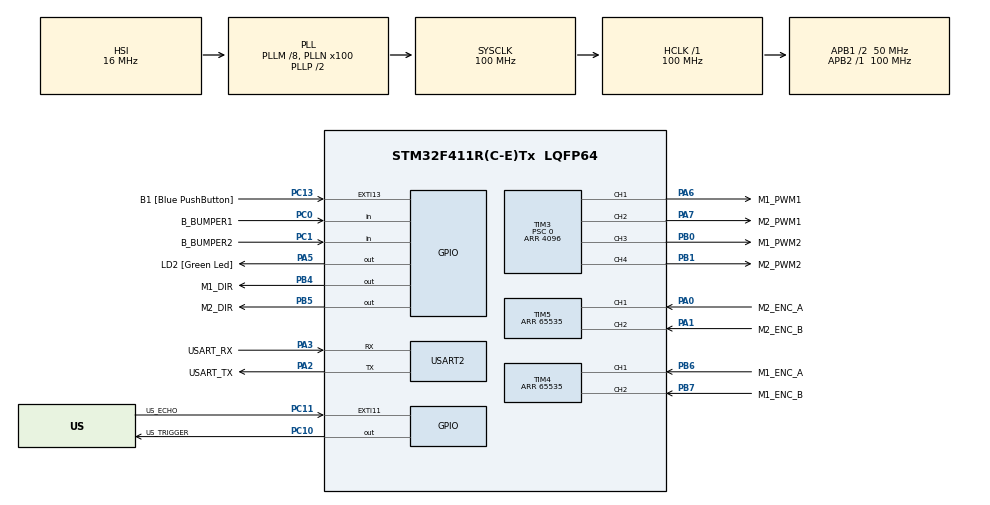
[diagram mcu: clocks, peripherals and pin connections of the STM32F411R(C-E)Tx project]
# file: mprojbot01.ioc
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Mcu.Family=STM32F4
Mcu.Name=STM32F411R(C-E)Tx
Mcu.Package=LQFP64
NVIC.EXTI15_10_IRQn=true\:0\:0\:false\:true\:true\:1\:true
NVIC.PriorityGroup=NVIC_PRIORITYGROUP_4
NVIC.USART2_IRQn=true\:0\:0\:false\:false\:true\:true
PA0-WKUP.GPIO_Label=M2_ENC_A
PA0-WKUP.Signal=S_TIM5_CH1
PA1.GPIO_Label=M2_ENC_B
PA1.Signal=S_TIM5_CH2
PA13.GPIO_Label=TMS
PA13.Signal=SYS_JTMS-SWDIO
PA14.GPIO_Label=TCK
PA14.Signal=SYS_JTCK-SWCLK
PA2.GPIO_Label=USART_TX
PA2.Mode=Asynchronous
PA2.Signal=USART2_TX
PA3.GPIO_Label=USART_RX
PA3.Mode=Asynchronous
PA3.Signal=USART2_RX
PA5.GPIO_Label=LD2 [Green Led]
PA5.Signal=GPIO_Output
PA6.GPIO_Label=M1_PWM1
PA6.Signal=S_TIM3_CH1
PA7.GPIO_Label=M2_PWM1
PA7.Signal=S_TIM3_CH2
PB0.GPIO_Label=M1_PWM2
PB0.Signal=S_TIM3_CH3
PB1.GPIO_Label=M2_PWM2
PB1.Signal=S_TIM3_CH4
PB3.GPIO_Label=SWO
PB3.Signal=SYS_JTDO-SWO
PB4.GPIO_Label=M1_DIR
PB4.Signal=GPIO_Output
PB5.GPIO_Label=M2_DIR
PB5.Signal=GPIO_Output
PB6.GPIO_Label=M1_ENC_A
PB6.Signal=S_TIM4_CH1
PB7.GPIO_Label=M1_ENC_B
PB7.Signal=S_TIM4_CH2
PC0.GPIO_Label=B_BUMPER1
PC0.GPIO_PuPd=GPIO_PULLUP
PC0.Signal=GPIO_Input
PC1.GPIO_Label=B_BUMPER2
PC1.GPIO_PuPd=GPIO_PULLUP
PC1.Signal=GPIO_Input
PC10.GPIO_Label=US_TRIGGER
PC10.Signal=GPIO_Output
PC11.GPIO_Label=US_ECHO
PC11.GPIO_ModeDefaultEXTI=GPIO_MODE_IT_RISING_FALLING
PC11.Signal=GPXTI11
PC13-ANTI_TAMP.GPIO_Label=B1 [Blue PushButton]
PC13-ANTI_TAMP.GPIO_ModeDefaultEXTI=GPIO_MODE_IT_FALLING
PC13-ANTI_TAMP.Signal=GPXTI13
PC14-OSC32_IN.Signal=RCC_OSC32_IN
PC15-OSC32_OUT.Signal=RCC_OSC32_OUT
PH0\ -\ OSC_IN.Signal=RCC_OSC_IN
PH1\ -\ OSC_OUT.Signal=RCC_OSC_OUT
ProjectManager.HeapSize=0x200
ProjectManager.StackSize=0x400
ProjectManager.TargetToolchain=TrueSTUDIO
RCC.48MHZClocksFreq_Value=50000000
RCC.AHBFreq_Value=100000000
RCC.APB1CLKDivider=RCC_HCLK_DIV2
RCC.APB1Freq_Value=50000000
RCC.APB1TimFreq_Value=100000000
RCC.APB2Freq_Value=100000000
RCC.APB2TimFreq_Value=100000000
RCC.CortexFreq_Value=100000000
RCC.FLatency-AdvancedSettings=FLASH_LATENCY_3
RCC.HCLKFreq_Value=100000000
RCC.HSE_VALUE=8000000
RCC.HSI_VALUE=16000000
RCC.LSE_VALUE=32768
RCC.PLLM=8
RCC.PLLN=100
RCC.SYSCLKFreq_VALUE=100000000
RCC.SYSCLKSource=RCC_SYSCLKSOURCE_PLLCLK
RCC.VCOOutputFreq_Value=200000000
SH.S_TIM3_CH1.0=TIM3_CH1,PWM Generation1 CH1
SH.S_TIM3_CH2.0=TIM3_CH2,PWM Generation2 CH2
SH.S_TIM3_CH3.0=TIM3_CH3,PWM Generation3 CH3
SH.S_TIM3_CH4.0=TIM3_CH4,PWM Generation4 CH4
SH.S_TIM4_CH1.0=TIM4_CH1,Encoder_Interface
SH.S_TIM4_CH2.0=TIM4_CH2,Encoder_Interface
SH.S_TIM5_CH1.0=TIM5_CH1,Encoder_Interface
SH.S_TIM5_CH2.0=TIM5_CH2,Encoder_Interface
TIM2.Period=0xFFFFFFFF
TIM2.Prescaler=9
TIM3.Channel-PWM\ Generation1\ CH1=TIM_CHANNEL_1
TIM3.Channel-PWM\ Generation2\ CH2=TIM_CHANNEL_2
TIM3.Channel-PWM\ Generation3\ CH3=TIM_CHANNEL_3
TIM3.Channel-PWM\ Generation4\ CH4=TIM_CHANNEL_4
TIM3.ClockDivision=TIM_CLOCKDIVISION_DIV1
TIM3.Period=4096
TIM3.Prescaler=0
TIM4.EncoderMode=TIM_ENCODERMODE_TI12
TIM4.IC1Polarity=TIM_ICPOLARITY_RISING
TIM4.IC2Polarity=TIM_ICPOLARITY_RISING
TIM4.Period=65535
TIM5.EncoderMode=TIM_ENCODERMODE_TI12
TIM5.IC1Polarity=TIM_ICPOLARITY_RISING
TIM5.IC2Polarity=TIM_ICPOLARITY_RISING
TIM5.Period=65535
USART2.VirtualMode=VM_ASYNC
VP_TIM2_VS_ClockSourceINT.Mode=Internal
board=NUCLEO-F411RE

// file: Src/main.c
/**
  ******************************************************************************
  * File Name          : main.c
  * Description        : Main program body
  ******************************************************************************
  ** This notice applies to any and all portions of this file
  * that are not between comment pairs USER CODE BEGIN and
  * USER CODE END. Other portions of this file, whether
  * inserted by the user or by software development tools
  * are owned by their respective copyright owners.
  *
  * COPYRIGHT(c) 2019 STMicroelectronics
  *
  * Redistribution and use in source and binary forms, with or without modification,
  * are permitted provided that the following conditions are met:
  *   1. Redistributions of source code must retain the above copyright notice,
  *      this list of conditions and the following disclaimer.
  *   2. Redistributions in binary form must reproduce the above copyright notice,
  *      this list of conditions and the following disclaimer in the documentation
  *      and/or other materials provided with the distribution.
  *   3. Neither the name of STMicroelectronics nor the names of its contributors
  *      may be used to endorse or promote products derived from this software
  *      without specific prior written permission.
  *
  * THIS SOFTWARE IS PROVIDED BY THE COPYRIGHT HOLDERS AND CONTRIBUTORS "AS IS"
  * AND ANY EXPRESS OR IMPLIED WARRANTIES, INCLUDING, BUT NOT LIMITED TO, THE
  * IMPLIED WARRANTIES OF MERCHANTABILITY AND FITNESS FOR A PARTICULAR PURPOSE ARE
  * DISCLAIMED. IN NO EVENT SHALL THE COPYRIGHT HOLDER OR CONTRIBUTORS BE LIABLE
  * FOR ANY DIRECT, INDIRECT, INCIDENTAL, SPECIAL, EXEMPLARY, OR CONSEQUENTIAL
  * DAMAGES (INCLUDING, BUT NOT LIMITED TO, PROCUREMENT OF SUBSTITUTE GOODS OR
  * SERVICES; LOSS OF USE, DATA, OR PROFITS; OR BUSINESS INTERRUPTION) HOWEVER
  * CAUSED AND ON ANY THEORY OF LIABILITY, WHETHER IN CONTRACT, STRICT LIABILITY,
  * OR TORT (INCLUDING NEGLIGENCE OR OTHERWISE) ARISING IN ANY WAY OUT OF THE USE
  * OF THIS SOFTWARE, EVEN IF ADVISED OF THE POSSIBILITY OF SUCH DAMAGE.
  *
  ******************************************************************************
  */

#include "main.h"
#include "stm32f4xx_hal.h"

/* USER CODE BEGIN Includes */
// !!!!!!!!  DOLEZITE PRE FUNKCNOST printf(): !!!!!!!!!
// !!!!!!!!  DOLEZITE PRE FUNKCNOST printf(): !!!!!!!!!
// !!!!!!!!  DOLEZITE PRE FUNKCNOST printf(): !!!!!!!!!
//	 Project Properties -> C/C++ Build->Settings-> Tool Settings-> C/C++ Linker-> General
//	 	 Runtime Library zmenit na "Newlib standard"
// 		 System calls zmenit na "Don't use syscalls from library"
//	 v src/ je potrebny subor syscalls.c. Ak tam nie je, rucne ho vytvorit a skopirovat obsah z
//	 https://github.com/fboris/STM32Cube_FW_F4/blob/master/Projects/STM32F429I-Discovery/Examples/BSP/TrueSTUDIO/syscalls.c
// !!!!!!!!  DOLEZITE PRE FUNKCNOST printf()  !!!!!!!!!

#include <stdio.h>

#include "uart.h"
#include "MotorControl.h"
#include "ultrasonic.h"
#include "commands.h"

/* USER CODE END Includes */

TIM_HandleTypeDef htim2;
TIM_HandleTypeDef htim3;
TIM_HandleTypeDef htim4;
TIM_HandleTypeDef htim5;

UART_HandleTypeDef huart2;

/* USER CODE BEGIN PV */
/* Private variables ---------------------------------------------------------*/

/* USER CODE END PV */

void SystemClock_Config(void);
static void MX_GPIO_Init(void);
static void MX_TIM5_Init(void);
static void MX_TIM4_Init(void);
static void MX_TIM3_Init(void);
static void MX_USART2_UART_Init(void);
static void MX_TIM2_Init(void);
static void MX_NVIC_Init(void);

void HAL_TIM_MspPostInit(TIM_HandleTypeDef *htim);

/* USER CODE BEGIN PFP */
/* Private function prototypes -----------------------------------------------*/

/* USER CODE END PFP */

int main(void)
{

  /* MCU Configuration----------------------------------------------------------*/

  /* Reset of all peripherals, Initializes the Flash interface and the Systick. */
  HAL_Init();

  /* Configure the system clock */
  SystemClock_Config();

  /* Initialize all configured peripherals */
  MX_GPIO_Init();
  MX_TIM5_Init();
  MX_TIM4_Init();
  MX_TIM3_Init();
  MX_USART2_UART_Init();
  MX_TIM2_Init();

  /* Initialize interrupts */
  MX_NVIC_Init();

  /* USER CODE BEGIN 2 */
  char msg[100];
  uint32_t counter = 0;
  volatile uint32_t c1 = 0;
  volatile uint32_t c2 = 0;
  int N = 5;
  int i = 0;
  float speeds[5] = {2, 5, 10, 15, 8};
  float setpoint = 2.0;
  uint32_t t_signal = HAL_GetTick();
  uint32_t t_sentUpdate = HAL_GetTick();

//  initMotors();
  initEncoders();
  initOdom();
  ultrasonicInit();
  motorCtrlInit();
  uartInit();

//  HAL_NVIC_SetPriority(USART2_IRQn, 0, 0);
//    HAL_NVIC_EnableIRQ(USART2_IRQn);
//  huart2.Instance->CR1 = USART_CR1_RE|USART_CR1_TE|USART_CR1_UE|USART_CR1_RXNEIE;

//  uint8_t motor = MOTOR_L;
//  printf("printf test\n");
//  uartPrintf("uartPrintf test\n");

  /* USER CODE END 2 */

  /* Infinite loop */
  while (1)
  {

  /* USER CODE BEGIN 3 */
//	  HAL_Delay(10);
	  HAL_GPIO_WritePin(LD2_GPIO_Port, LD2_Pin, 1);
	  uint32_t t = HAL_GetTick();

//	  uint16_t n = sprintf(msg, "It works %d!\r\n", counter);
//	  HAL_UART_Transmit(&huart2, (uint8_t*)msg, n, 100);
//	  uartPrintf("It works with custom printf %d!\r\n", counter);
//	  counter++;

	  ultrasonicStartMeasure();
	  float dist = ultrasonicGetDist();
	  int bumpL = HAL_GPIO_ReadPin(B_BUMPER1_GPIO_Port, B_BUMPER1_Pin);
	  int bumpR = HAL_GPIO_ReadPin(B_BUMPER2_GPIO_Port, B_BUMPER2_Pin);
//	  uartPrintf("%.2f\r\n", dist);

//	  if(t-t_signal > 5000){
//		  setpoint = speeds[((i++)%N)];
//		  t_signal = t;
//	  }
//	  motorCtrlSetpoint(-setpoint, setpoint);
//	  enableMotors(false);
//	  enableMotors(true);
//	  motorCtrlSetpoint(0, 0);

	  updateSerialRxCommand();
	  float v_x = 0.0;
	  float omega_z = 0.0;
	  getCmdvelCommand(&v_x, &omega_z);
	  motorCtrlSetpointCmdvel(v_x, omega_z);
//	  float setpointL = 0;
//	  float setpointR = 0;
//	  getCmdvelCommand(&setpointL, &setpointR);
	  /*
	  0.1,0.1
	  0.5,0.5
	   */
//	  motorCtrlSetpoint(setpointL, setpointR);

	  cmdvelWatchdogUpdate();

	  motorCtrlUpdate();

	  t = HAL_GetTick();
	  if(t - t_sentUpdate > 20){
		  // OdomX[float%.4f],OdomY[float%.4f],OdomRot[float%.4f],BumperL[0/1int],BumperR[0/1int],ultrasound[0..100int]\n"
		  uartPrintf("%.4f,%.4f,%.4f,%d,%d,%.2f\r\n", odomX, odomY, odomRot, bumpL, bumpR, dist);
		  t_sentUpdate = t;
	  }

	  HAL_GPIO_WritePin(LD2_GPIO_Port, LD2_Pin, 0);
  }
  /* USER CODE END 3 */

}

/** System Clock Configuration
*/
void SystemClock_Config(void)
{

  RCC_OscInitTypeDef RCC_OscInitStruct;
  RCC_ClkInitTypeDef RCC_ClkInitStruct;

    /**Configure the main internal regulator output voltage
    */
  __HAL_RCC_PWR_CLK_ENABLE();

  __HAL_PWR_VOLTAGESCALING_CONFIG(PWR_REGULATOR_VOLTAGE_SCALE1);

    /**Initializes the CPU, AHB and APB busses clocks
    */
  RCC_OscInitStruct.OscillatorType = RCC_OSCILLATORTYPE_HSI;
  RCC_OscInitStruct.HSIState = RCC_HSI_ON;
  RCC_OscInitStruct.HSICalibrationValue = 16;
  RCC_OscInitStruct.PLL.PLLState = RCC_PLL_ON;
  RCC_OscInitStruct.PLL.PLLSource = RCC_PLLSOURCE_HSI;
  RCC_OscInitStruct.PLL.PLLM = 8;
  RCC_OscInitStruct.PLL.PLLN = 100;
  RCC_OscInitStruct.PLL.PLLP = RCC_PLLP_DIV2;
  RCC_OscInitStruct.PLL.PLLQ = 4;
  if (HAL_RCC_OscConfig(&RCC_OscInitStruct) != HAL_OK)
  {
    _Error_Handler(__FILE__, __LINE__);
  }

    /**Initializes the CPU, AHB and APB busses clocks
    */
  RCC_ClkInitStruct.ClockType = RCC_CLOCKTYPE_HCLK|RCC_CLOCKTYPE_SYSCLK
                              |RCC_CLOCKTYPE_PCLK1|RCC_CLOCKTYPE_PCLK2;
  RCC_ClkInitStruct.SYSCLKSource = RCC_SYSCLKSOURCE_PLLCLK;
  RCC_ClkInitStruct.AHBCLKDivider = RCC_SYSCLK_DIV1;
  RCC_ClkInitStruct.APB1CLKDivider = RCC_HCLK_DIV2;
  RCC_ClkInitStruct.APB2CLKDivider = RCC_HCLK_DIV1;

  if (HAL_RCC_ClockConfig(&RCC_ClkInitStruct, FLASH_LATENCY_3) != HAL_OK)
  {
    _Error_Handler(__FILE__, __LINE__);
  }

    /**Configure the Systick interrupt time
    */
  HAL_SYSTICK_Config(HAL_RCC_GetHCLKFreq()/1000);

    /**Configure the Systick
    */
  HAL_SYSTICK_CLKSourceConfig(SYSTICK_CLKSOURCE_HCLK);

  /* SysTick_IRQn interrupt configuration */
  HAL_NVIC_SetPriority(SysTick_IRQn, 0, 0);
}

/** NVIC Configuration
*/
static void MX_NVIC_Init(void)
{
  /* EXTI15_10_IRQn interrupt configuration */
  HAL_NVIC_SetPriority(EXTI15_10_IRQn, 0, 0);
  HAL_NVIC_EnableIRQ(EXTI15_10_IRQn);
}

/* TIM2 init function */
static void MX_TIM2_Init(void)
{

  TIM_ClockConfigTypeDef sClockSourceConfig;
  TIM_MasterConfigTypeDef sMasterConfig;

  htim2.Instance = TIM2;
  htim2.Init.Prescaler = 9;
  htim2.Init.CounterMode = TIM_COUNTERMODE_UP;
  htim2.Init.Period = 0xFFFFFFFF;
  htim2.Init.ClockDivision = TIM_CLOCKDIVISION_DIV1;
  if (HAL_TIM_Base_Init(&htim2) != HAL_OK)
  {
    _Error_Handler(__FILE__, __LINE__);
  }

  sClockSourceConfig.ClockSource = TIM_CLOCKSOURCE_INTERNAL;
  if (HAL_TIM_ConfigClockSource(&htim2, &sClockSourceConfig) != HAL_OK)
  {
    _Error_Handler(__FILE__, __LINE__);
  }

  sMasterConfig.MasterOutputTrigger = TIM_TRGO_RESET;
  sMasterConfig.MasterSlaveMode = TIM_MASTERSLAVEMODE_DISABLE;
  if (HAL_TIMEx_MasterConfigSynchronization(&htim2, &sMasterConfig) != HAL_OK)
  {
    _Error_Handler(__FILE__, __LINE__);
  }

}

/* TIM3 init function */
static void MX_TIM3_Init(void)
{

  TIM_MasterConfigTypeDef sMasterConfig;
  TIM_OC_InitTypeDef sConfigOC;

  htim3.Instance = TIM3;
  htim3.Init.Prescaler = 0;
  htim3.Init.CounterMode = TIM_COUNTERMODE_UP;
  htim3.Init.Period = 4096;
  htim3.Init.ClockDivision = TIM_CLOCKDIVISION_DIV1;
  if (HAL_TIM_PWM_Init(&htim3) != HAL_OK)
  {
    _Error_Handler(__FILE__, __LINE__);
  }

  sMasterConfig.MasterOutputTrigger = TIM_TRGO_RESET;
  sMasterConfig.MasterSlaveMode = TIM_MASTERSLAVEMODE_DISABLE;
  if (HAL_TIMEx_MasterConfigSynchronization(&htim3, &sMasterConfig) != HAL_OK)
  {
    _Error_Handler(__FILE__, __LINE__);
  }

  sConfigOC.OCMode = TIM_OCMODE_PWM1;
  sConfigOC.Pulse = 0;
  sConfigOC.OCPolarity = TIM_OCPOLARITY_HIGH;
  sConfigOC.OCFastMode = TIM_OCFAST_DISABLE;
  if (HAL_TIM_PWM_ConfigChannel(&htim3, &sConfigOC, TIM_CHANNEL_1) != HAL_OK)
  {
    _Error_Handler(__FILE__, __LINE__);
  }

  if (HAL_TIM_PWM_ConfigChannel(&htim3, &sConfigOC, TIM_CHANNEL_2) != HAL_OK)
  {
    _Error_Handler(__FILE__, __LINE__);
  }

  if (HAL_TIM_PWM_ConfigChannel(&htim3, &sConfigOC, TIM_CHANNEL_3) != HAL_OK)
  {
    _Error_Handler(__FILE__, __LINE__);
  }

  if (HAL_TIM_PWM_ConfigChannel(&htim3, &sConfigOC, TIM_CHANNEL_4) != HAL_OK)
  {
    _Error_Handler(__FILE__, __LINE__);
  }

  HAL_TIM_MspPostInit(&htim3);

}

/* TIM4 init function */
static void MX_TIM4_Init(void)
{

  TIM_Encoder_InitTypeDef sConfig;
  TIM_MasterConfigTypeDef sMasterConfig;

  htim4.Instance = TIM4;
  htim4.Init.Prescaler = 0;
  htim4.Init.CounterMode = TIM_COUNTERMODE_UP;
  htim4.Init.Period = 65535;
  htim4.Init.ClockDivision = TIM_CLOCKDIVISION_DIV1;
  sConfig.EncoderMode = TIM_ENCODERMODE_TI12;
  sConfig.IC1Polarity = TIM_ICPOLARITY_RISING;
  sConfig.IC1Selection = TIM_ICSELECTION_DIRECTTI;
  sConfig.IC1Prescaler = TIM_ICPSC_DIV1;
  sConfig.IC1Filter = 0;
  sConfig.IC2Polarity = TIM_ICPOLARITY_RISING;
  sConfig.IC2Selection = TIM_ICSELECTION_DIRECTTI;
  sConfig.IC2Prescaler = TIM_ICPSC_DIV1;
  sConfig.IC2Filter = 0;
  if (HAL_TIM_Encoder_Init(&htim4, &sConfig) != HAL_OK)
  {
    _Error_Handler(__FILE__, __LINE__);
  }

  sMasterConfig.MasterOutputTrigger = TIM_TRGO_RESET;
  sMasterConfig.MasterSlaveMode = TIM_MASTERSLAVEMODE_DISABLE;
  if (HAL_TIMEx_MasterConfigSynchronization(&htim4, &sMasterConfig) != HAL_OK)
  {
    _Error_Handler(__FILE__, __LINE__);
  }

}

/* TIM5 init function */
static void MX_TIM5_Init(void)
{

  TIM_Encoder_InitTypeDef sConfig;
  TIM_MasterConfigTypeDef sMasterConfig;

  htim5.Instance = TIM5;
  htim5.Init.Prescaler = 0;
  htim5.Init.CounterMode = TIM_COUNTERMODE_UP;
  htim5.Init.Period = 65535;
  htim5.Init.ClockDivision = TIM_CLOCKDIVISION_DIV1;
  sConfig.EncoderMode = TIM_ENCODERMODE_TI12;
  sConfig.IC1Polarity = TIM_ICPOLARITY_RISING;
  sConfig.IC1Selection = TIM_ICSELECTION_DIRECTTI;
  sConfig.IC1Prescaler = TIM_ICPSC_DIV1;
  sConfig.IC1Filter = 0;
  sConfig.IC2Polarity = TIM_ICPOLARITY_RISING;
  sConfig.IC2Selection = TIM_ICSELECTION_DIRECTTI;
  sConfig.IC2Prescaler = TIM_ICPSC_DIV1;
  sConfig.IC2Filter = 0;
  if (HAL_TIM_Encoder_Init(&htim5, &sConfig) != HAL_OK)
  {
    _Error_Handler(__FILE__, __LINE__);
  }

  sMasterConfig.MasterOutputTrigger = TIM_TRGO_RESET;
  sMasterConfig.MasterSlaveMode = TIM_MASTERSLAVEMODE_DISABLE;
  if (HAL_TIMEx_MasterConfigSynchronization(&htim5, &sMasterConfig) != HAL_OK)
  {
    _Error_Handler(__FILE__, __LINE__);
  }

}

/* USART2 init function */
static void MX_USART2_UART_Init(void)
{

  huart2.Instance = USART2;
  huart2.Init.BaudRate = 115200;
  huart2.Init.WordLength = UART_WORDLENGTH_8B;
  huart2.Init.StopBits = UART_STOPBITS_1;
  huart2.Init.Parity = UART_PARITY_NONE;
  huart2.Init.Mode = UART_MODE_TX_RX;
  huart2.Init.HwFlowCtl = UART_HWCONTROL_NONE;
  huart2.Init.OverSampling = UART_OVERSAMPLING_16;
  if (HAL_UART_Init(&huart2) != HAL_OK)
  {
    _Error_Handler(__FILE__, __LINE__);
  }

}

/** Configure pins as
        * Analog
        * Input
        * Output
        * EVENT_OUT
        * EXTI
*/
static void MX_GPIO_Init(void)
{

  GPIO_InitTypeDef GPIO_InitStruct;

  /* GPIO Ports Clock Enable */
  __HAL_RCC_GPIOC_CLK_ENABLE();
  __HAL_RCC_GPIOH_CLK_ENABLE();
  __HAL_RCC_GPIOA_CLK_ENABLE();
  __HAL_RCC_GPIOB_CLK_ENABLE();

  /*Configure GPIO pin Output Level */
  HAL_GPIO_WritePin(LD2_GPIO_Port, LD2_Pin, GPIO_PIN_RESET);

  /*Configure GPIO pin Output Level */
  HAL_GPIO_WritePin(US_TRIGGER_GPIO_Port, US_TRIGGER_Pin, GPIO_PIN_RESET);

  /*Configure GPIO pin Output Level */
  HAL_GPIO_WritePin(GPIOB, M1_DIR_Pin|M2_DIR_Pin, GPIO_PIN_RESET);

  /*Configure GPIO pin : B1_Pin */
  GPIO_InitStruct.Pin = B1_Pin;
  GPIO_InitStruct.Mode = GPIO_MODE_IT_FALLING;
  GPIO_InitStruct.Pull = GPIO_NOPULL;
  HAL_GPIO_Init(B1_GPIO_Port, &GPIO_InitStruct);

  /*Configure GPIO pins : B_BUMPER1_Pin B_BUMPER2_Pin */
  GPIO_InitStruct.Pin = B_BUMPER1_Pin|B_BUMPER2_Pin;
  GPIO_InitStruct.Mode = GPIO_MODE_INPUT;
  GPIO_InitStruct.Pull = GPIO_PULLUP;
  HAL_GPIO_Init(GPIOC, &GPIO_InitStruct);

  /*Configure GPIO pin : LD2_Pin */
  GPIO_InitStruct.Pin = LD2_Pin;
  GPIO_InitStruct.Mode = GPIO_MODE_OUTPUT_PP;
  GPIO_InitStruct.Pull = GPIO_NOPULL;
  GPIO_InitStruct.Speed = GPIO_SPEED_FREQ_LOW;
  HAL_GPIO_Init(LD2_GPIO_Port, &GPIO_InitStruct);

  /*Configure GPIO pin : US_TRIGGER_Pin */
  GPIO_InitStruct.Pin = US_TRIGGER_Pin;
  GPIO_InitStruct.Mode = GPIO_MODE_OUTPUT_PP;
  GPIO_InitStruct.Pull = GPIO_NOPULL;
  GPIO_InitStruct.Speed = GPIO_SPEED_FREQ_LOW;
  HAL_GPIO_Init(US_TRIGGER_GPIO_Port, &GPIO_InitStruct);

  /*Configure GPIO pin : US_ECHO_Pin */
  GPIO_InitStruct.Pin = US_ECHO_Pin;
  GPIO_InitStruct.Mode = GPIO_MODE_IT_RISING_FALLING;
  GPIO_InitStruct.Pull = GPIO_NOPULL;
  HAL_GPIO_Init(US_ECHO_GPIO_Port, &GPIO_InitStruct);

  /*Configure GPIO pins : M1_DIR_Pin M2_DIR_Pin */
  GPIO_InitStruct.Pin = M1_DIR_Pin|M2_DIR_Pin;
  GPIO_InitStruct.Mode = GPIO_MODE_OUTPUT_PP;
  GPIO_InitStruct.Pull = GPIO_NOPULL;
  GPIO_InitStruct.Speed = GPIO_SPEED_FREQ_LOW;
  HAL_GPIO_Init(GPIOB, &GPIO_InitStruct);

}

void _Error_Handler(char * file, int line)
{
  while(1)
  {
  }
}

/************************ (C) COPYRIGHT STMicroelectronics *****END OF FILE****/
